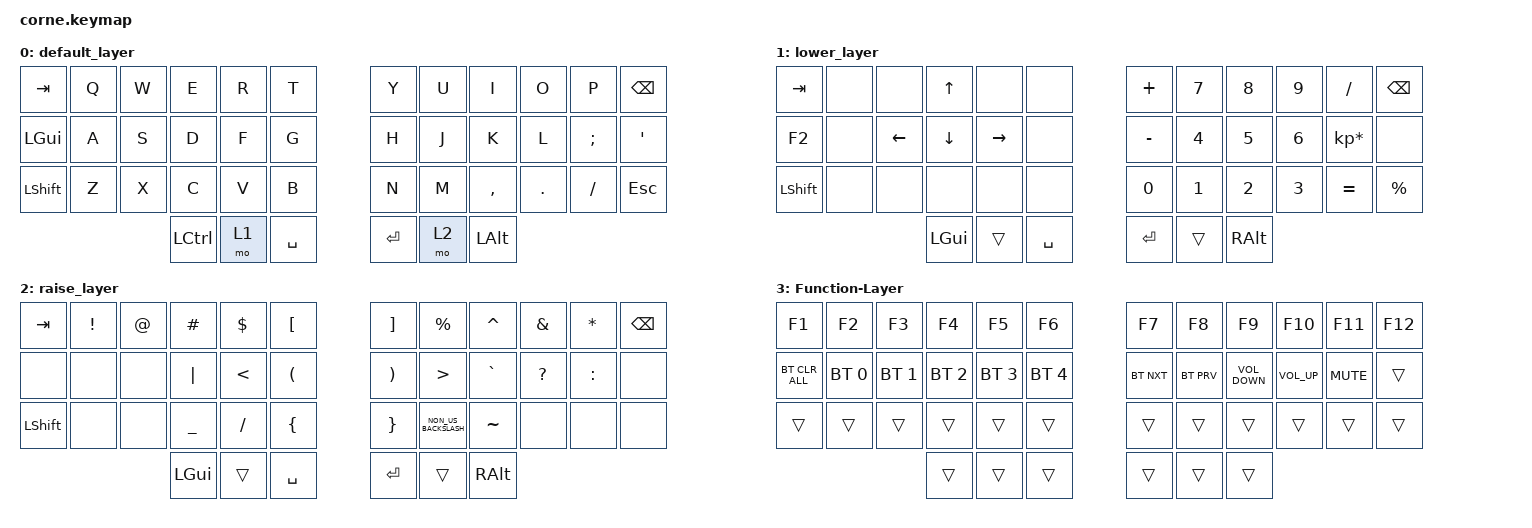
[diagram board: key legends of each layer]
/*
 * Copyright (c) 2020 The ZMK Contributors
 *
 * SPDX-License-Identifier: MIT
 */

#include <behaviors.dtsi>
#include <dt-bindings/zmk/bt.h>
#include <dt-bindings/zmk/keys.h>

/ {
    combos {
        compatible = "zmk,combos";

        Function {
            bindings = <&mo 3>;
            key-positions = <37 40>;
        };
    };

    keymap {
        compatible = "zmk,keymap";

        default_layer {
            // -----------------------------------------------------------------------------------------
            // |  TAB |  Q  |  W  |  E  |  R  |  T  |   |  Y  |  U   |  I  |  O  |  P  | BKSP |
            // | CTRL |  A  |  S  |  D  |  F  |  G  |   |  H  |  J   |  K  |  L  |  ;  |  '   |
            // | SHFT |  Z  |  X  |  C  |  V  |  B  |   |  N  |  M   |  ,  |  .  |  /  | ESC  |
            //                    | GUI | LWR | SPC |   | ENT | RSE  | ALT |

            bindings = <
&kp TAB         &kp Q  &kp W  &kp E      &kp R  &kp T        &kp Y    &kp U  &kp I         &kp O    &kp P     &kp BACKSPACE
&kp LEFT_GUI    &kp A  &kp S  &kp D      &kp F  &kp G        &kp H    &kp J  &kp K         &kp L    &kp SEMI  &kp SQT
&kp LEFT_SHIFT  &kp Z  &kp X  &kp C      &kp V  &kp B        &kp N    &kp M  &kp COMMA     &kp DOT  &kp FSLH  &kp ESCAPE
                              &kp LCTRL  &mo 1  &kp SPACE    &kp RET  &mo 2  &kp LEFT_ALT
            >;
        };

        lower_layer {
            // -----------------------------------------------------------------------------------------
            // |  TAB |  1  |  2  |  3  |  4  |  5  |   |  6  |  7  |  8  |  9  |  0  | BKSP |
            // | BTCLR| BT1 | BT2 | BT3 | BT4 | BT5 |   | LFT | DWN |  UP | RGT |     |      |
            // | SHFT |     |     |     |     |     |   |     |     |     |     |     |      |
            //                    | GUI |     | SPC |   | ENT |     | ALT |

            bindings = <
&kp TAB    &none  &none           &kp UP_ARROW    &none      &none        &kp PLUS   &kp N7        &kp N8        &kp N9        &kp SLASH        &kp BSPC
&kp F2     &none  &kp LEFT_ARROW  &kp DOWN_ARROW  &kp RIGHT  &none        &kp MINUS  &kp NUMBER_4  &kp N5        &kp NUMBER_6  &kp KP_MULTIPLY  &none
&kp LSHFT  &none  &none           &none           &none      &none        &kp N0     &kp NUMBER_1  &kp NUMBER_2  &kp NUMBER_3  &kp EQUAL        &kp PERCENT
                                  &kp LGUI        &trans     &kp SPACE    &kp RET    &trans        &kp RALT
            >;
        };

        raise_layer {
            // -----------------------------------------------------------------------------------------
            // |  TAB |  !  |  @  |  #  |  $  |  %  |   |  ^  |  &  |  *  |  (  |  )  | BKSP |
            // | CTRL |     |     |     |     |     |   |  -  |  =  |  [  |  ]  |  \  |  `   |
            // | SHFT |     |     |     |     |     |   |  _  |  +  |  {  |  }  | "|" |  ~   |
            //                    | GUI |     | SPC |   | ENT |     | ALT |

            bindings = <
&kp TAB    &kp EXCL  &kp AT  &kp HASH   &kp DLLR       &kp LEFT_BRACKET        &kp RIGHT_BRACKET      &kp PERCENT           &kp CARET  &kp AMPERSAND  &kp ASTERISK  &kp BSPC
&none      &none     &none   &kp PIPE   &kp LESS_THAN  &kp LEFT_PARENTHESIS    &kp RIGHT_PARENTHESIS  &kp GREATER_THAN      &kp GRAVE  &kp QUESTION   &kp COLON     &none
&kp LSHFT  &none     &none   &kp UNDER  &kp SLASH      &kp LEFT_BRACE          &kp RIGHT_BRACE        &kp NON_US_BACKSLASH  &kp TILDE  &none          &none         &none
                             &kp LGUI   &trans         &kp SPACE               &kp RET                &trans                &kp RALT
            >;
        };

        Function-Layer {
            bindings = <
&kp F1          &kp F2        &kp F3        &kp F4        &kp F5        &kp F6          &kp F7      &kp F8      &kp F9             &kp F10          &kp F11     &kp F12
&bt BT_CLR_ALL  &bt BT_SEL 0  &bt BT_SEL 1  &bt BT_SEL 2  &bt BT_SEL 3  &bt BT_SEL 4    &bt BT_NXT  &bt BT_PRV  &kp K_VOLUME_DOWN  &kp K_VOLUME_UP  &kp K_MUTE  &trans
&trans          &trans        &trans        &trans        &trans        &trans          &trans      &trans      &trans             &trans           &trans      &trans
                                            &trans        &trans        &trans          &trans      &trans      &trans
            >;
        };
    };
};
